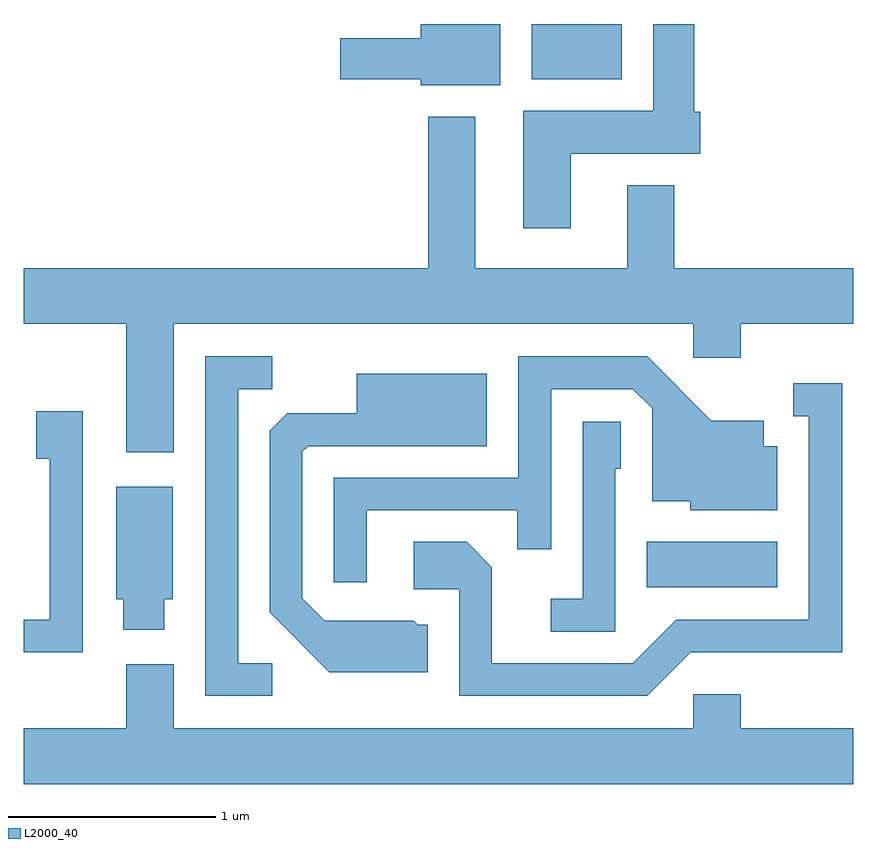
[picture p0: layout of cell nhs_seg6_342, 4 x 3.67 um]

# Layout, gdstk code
import gdstk
lib = gdstk.Library(unit=1e-6, precision=1e-09)
def R(c, l, rs):  # rectangles x0, y0, x1, y1
    for r in rs: c.add(gdstk.rectangle(r[:2], r[2:], *l))
def P(c, l, *ps):  # polygons
    for p in ps: c.add(gdstk.Polygon(p, *l))
L2000_40 = (2000, 40)

nhs_seg6_342 = lib.new_cell('nhs_seg6_342')
R(nhs_seg6_342, L2000_40, [(198.616,1535.446,199.244,1535.664), (198.061,1537.896,198.494,1538.162)])
P(nhs_seg6_342, L2000_40, [(198.249,1537.536),(198.874,1537.536),(198.874,1537.739),(198.844,1537.739),(198.844,1538.162),(198.646,1538.162),(198.646,1537.744),(198.021,1537.744),(198.021,1537.176),(198.249,1537.176)],
  [(197.909,1538.162),(197.526,1538.162),(197.526,1538.094),(197.136,1538.094),(197.136,1537.896),(197.526,1537.896),(197.526,1537.866),(197.909,1537.866)],
  [(196.334,1536.716),(198.841,1536.716),(198.841,1536.551),(199.069,1536.551),(199.069,1536.716),(199.611,1536.716),(199.611,1536.984),(198.749,1536.984),(198.749,1537.384),(198.521,1537.384),(198.521,1536.984),(197.789,1536.984),(197.789,1537.714),(197.561,1537.714),(197.561,1536.984),(195.611,1536.984),(195.611,1536.716),(196.106,1536.716),(196.106,1536.096),(196.334,1536.096)],
  [(197.264,1535.816),(197.991,1535.816),(197.991,1535.628),(198.154,1535.628),(198.154,1536.401),(198.549,1536.401),(198.641,1536.309),(198.641,1535.861),(198.826,1535.861),(198.826,1535.816),(199.244,1535.816),(199.244,1536.124),(199.179,1536.124),(199.179,1536.249),(198.927,1536.249),(198.617,1536.559),(197.996,1536.559),(197.996,1535.974),(197.106,1535.974),(197.106,1535.468),(197.264,1535.468)],
  [(196.808,1535.079),(196.644,1535.079),(196.644,1536.401),(196.808,1536.401),(196.808,1536.559),(196.486,1536.559),(196.486,1534.921),(196.808,1534.921)],
  [(197.559,1535.264),(197.512,1535.264),(197.492,1535.284),(197.062,1535.284),(196.954,1535.392),(196.954,1536.099),(196.982,1536.126),(197.844,1536.126),(197.844,1536.474),(197.216,1536.474),(197.216,1536.284),(196.882,1536.284),(196.796,1536.199),(196.796,1535.324),(197.084,1535.036),(197.559,1535.036)],
  [(198.827,1535.131),(199.559,1535.131),(199.559,1536.429),(199.323,1536.429),(199.323,1536.271),(199.396,1536.271),(199.396,1535.289),(198.759,1535.289),(198.549,1535.079),(197.869,1535.079),(197.869,1535.542),(197.747,1535.664),(197.491,1535.664),(197.491,1535.436),(197.711,1535.436),(197.711,1534.921),(198.617,1534.921)],
  [(195.894,1536.294),(195.671,1536.294),(195.671,1536.066),(195.736,1536.066),(195.736,1535.289),(195.611,1535.289),(195.611,1535.131),(195.894,1535.131)],
  [(198.464,1536.016),(198.489,1536.016),(198.489,1536.244),(198.306,1536.244),(198.306,1535.389),(198.153,1535.389),(198.153,1535.231),(198.464,1535.231)],
  [(196.289,1535.386),(196.329,1535.386),(196.329,1535.929),(196.056,1535.929),(196.056,1535.386),(196.091,1535.386),(196.091,1535.241),(196.289,1535.241)],
  [(199.611,1534.764),(199.069,1534.764),(199.069,1534.929),(198.841,1534.929),(198.841,1534.764),(196.334,1534.764),(196.334,1535.074),(196.106,1535.074),(196.106,1534.764),(195.611,1534.764),(195.611,1534.496),(199.611,1534.496)])

lib.write_gds('nhs_seg6_342.gds')
